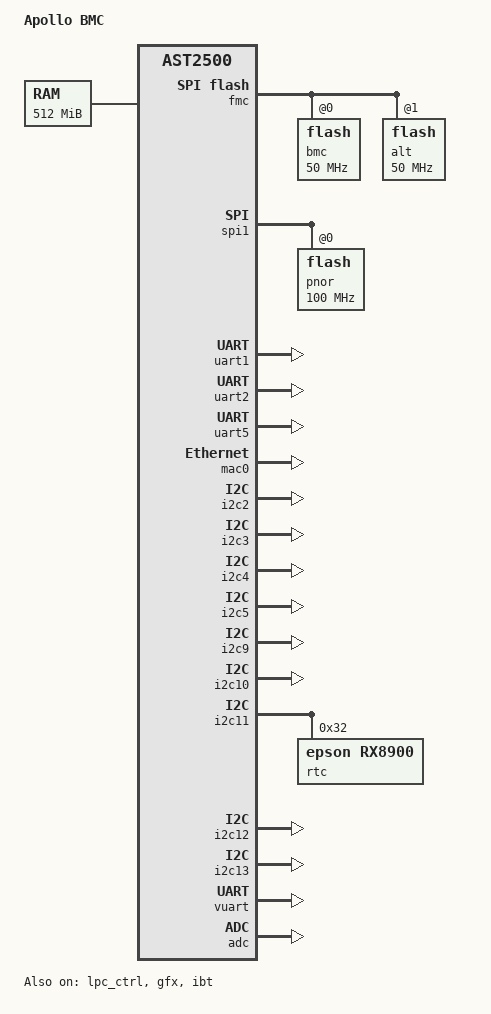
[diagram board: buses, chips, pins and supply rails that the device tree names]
// SPDX-License-Identifier: GPL-2.0+
/dts-v1/;

#include "aspeed-g5.dtsi"

/ {
	model = "Apollo BMC";
	compatible = "aspeed,ast2500";

	chosen {
		stdout-path = &uart5;
		bootargs = "console=ttyS4,115200 earlyprintk";
	};

	memory@80000000 {
		reg = <0x80000000 0x20000000>;
	};

	reserved-memory {
		#address-cells = <1>;
		#size-cells = <1>;
		ranges;

		flash_memory: region@98000000 {
			no-map;
			reg = <0x98000000 0x04000000>; /* 64M */
		};

		gfx_memory: framebuffer {
			size = <0x01000000>;
			alignment = <0x01000000>;
			compatible = "shared-dma-pool";
			reusable;
		};
	};
};

&fmc {
	status = "okay";

	flash@0 {
		status = "okay";
		label = "bmc";
		m25p,fast-read;
		spi-max-frequency = <50000000>;
#include "openbmc-flash-layout.dtsi"
	};

	flash@1 {
		status = "okay";
		label = "alt";
		m25p,fast-read;
		spi-max-frequency = <50000000>;
	};
};

&spi1 {
	status = "okay";
	pinctrl-names = "default";
	pinctrl-0 = <&pinctrl_spi1_default>;

	flash@0 {
		status = "okay";
		label = "pnor";
		m25p,fast-read;
		spi-max-frequency = <100000000>;
	};
};

&uart1 {
	/* Rear RS-232 connector */
	status = "okay";
	pinctrl-names = "default";
	pinctrl-0 = <&pinctrl_txd1_default
			&pinctrl_rxd1_default
			&pinctrl_nrts1_default
			&pinctrl_ndtr1_default
			&pinctrl_ndsr1_default
			&pinctrl_ncts1_default
			&pinctrl_ndcd1_default
			&pinctrl_nri1_default>;
};

&uart2 {
	/* APSS */
	status = "okay";
	pinctrl-names = "default";
	pinctrl-0 = <&pinctrl_txd2_default &pinctrl_rxd2_default>;
};

&uart5 {
	status = "okay";
};

&lpc_ctrl {
	status = "okay";
	memory-region = <&flash_memory>;
	flash = <&spi1>;
};

&mbox {
	status = "okay";
};

&mac0 {
	status = "okay";
	pinctrl-names = "default";
	pinctrl-0 = <&pinctrl_rmii1_default>;
	use-ncsi;
};

&i2c2 {
	status = "okay";
};

&i2c3 {
	status = "okay";
};

&i2c4 {
	status = "okay";
};


&i2c5 {
	status = "okay";
};

&i2c9 {
	status = "okay";
};

&i2c10 {
	status = "okay";
};

&i2c11 {
	status = "okay";
	rtc@32 {
		compatible = "epson,rx8900";
		reg = <0x32>;
	};
};

&i2c12 {
	status = "okay";
};

&i2c13 {
	status = "okay";
};

&vuart {
	status = "okay";
};

&gfx {
	status = "okay";
	memory-region = <&gfx_memory>;
};

&pinctrl {
	aspeed,external-nodes = <&gfx &lhc>;
};

&wdt1 {
	aspeed,reset-type = "none";
	aspeed,external-signal;
	aspeed,ext-push-pull;
	aspeed,ext-active-high;

	pinctrl-names = "default";
	pinctrl-0 = <&pinctrl_wdtrst1_default>;
};

&wdt2 {
	aspeed,alt-boot;
};

&ibt {
	status = "okay";
};

&adc {
	status = "okay";
};
